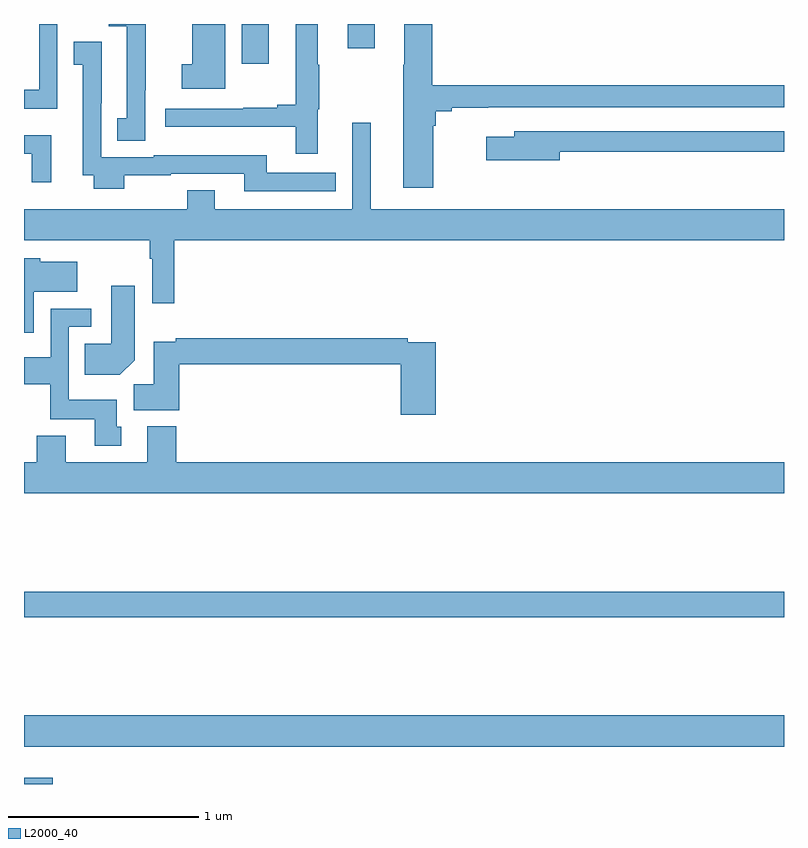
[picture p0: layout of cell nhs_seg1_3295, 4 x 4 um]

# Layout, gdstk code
import gdstk
lib = gdstk.Library(unit=1e-6, precision=1e-09)
def R(c, l, rs):  # rectangles x0, y0, x1, y1
    for r in rs: c.add(gdstk.rectangle(r[:2], r[2:], *l))
def P(c, l, *ps):  # polygons
    for p in ps: c.add(gdstk.Polygon(p, *l))
L2000_40 = (2000, 40)

nhs_seg1_3295 = lib.new_cell('nhs_seg1_3295')
R(nhs_seg1_3295, L2000_40, [(289,554.199,289.151,554.233), (289,554.396,293,554.56), (289,555.076,293,555.212), (290.147,557.991,290.287,558.199), (290.705,558.072,290.845,558.199)])
P(nhs_seg1_3295, L2000_40, [(290.059,558.199),(289.886,558.199),(289.886,557.988),(289.83,557.988),(289.83,557.858),(290.059,557.858)],
  [(291.154,557.663),(291.167,557.663),(291.167,557.74),(291.25,557.74),(291.25,557.759),(291.444,557.759),(291.444,557.76),(293,557.76),(293,557.876),(291.149,557.876),(291.149,558.199),(291.002,558.199),(291.002,557.984),(290.995,557.984),(290.995,557.754),(290.996,557.754),(290.996,557.336),(291.154,557.336)],
  [(290.545,557.751),(290.553,557.751),(290.553,557.984),(290.545,557.984),(290.545,558.199),(290.429,558.199),(290.429,557.774),(290.333,557.774),(290.333,557.757),(290.155,557.757),(290.155,557.754),(289.743,557.754),(289.743,557.657),(290.429,557.657),(290.429,557.517),(290.545,557.517)],
  [(289.176,558.199),(289.08,558.199),(289.08,557.854),(289,557.854),(289,557.753),(289.176,557.753)],
  [(289.638,557.851),(289.641,557.851),(289.641,558.199),(289.445,558.199),(289.445,558.186),(289.541,558.186),(289.541,557.703),(289.492,557.703),(289.492,557.584),(289.638,557.584)],
  [(290.642,557.415),(290.278,557.415),(290.278,557.509),(289.683,557.509),(289.683,557.499),(289.407,557.499),(289.407,557.782),(289.408,557.782),(289.408,558.106),(289.261,558.106),(289.261,557.985),(289.31,557.985),(289.31,557.403),(289.367,557.403),(289.367,557.333),(289.527,557.333),(289.527,557.402),(289.773,557.402),(289.773,557.412),(290.159,557.412),(290.159,557.319),(290.642,557.319)],
  [(289.79,557.06),(293,557.06),(293,557.224),(290.824,557.224),(290.824,557.68),(290.727,557.68),(290.727,557.224),(290.005,557.224),(290.005,557.323),(289.858,557.323),(289.858,557.224),(289,557.224),(289,557.06),(289.662,557.06),(289.662,556.964),(289.674,556.964),(289.674,556.728),(289.79,556.728)],
  [(291.82,557.526),(293,557.526),(293,557.634),(291.581,557.634),(291.581,557.605),(291.432,557.605),(291.432,557.483),(291.82,557.483)],
  [(289.144,557.614),(289,557.614),(289,557.517),(289.042,557.517),(289.042,557.367),(289.144,557.367)],
  [(289.05,556.79),(289.279,556.79),(289.279,556.948),(289.086,556.948),(289.086,556.966),(289,556.966),(289,556.574),(289.05,556.574)],
  [(289.582,556.43),(289.582,556.822),(289.46,556.822),(289.46,556.516),(289.321,556.516),(289.321,556.352),(289.504,556.352)],
  [(289.513,556.08),(289.489,556.08),(289.489,556.222),(289.236,556.222),(289.236,556.605),(289.354,556.605),(289.354,556.701),(289.14,556.701),(289.14,556.444),(289.001,556.444),(289.001,556.304),(289.138,556.304),(289.138,556.118),(289.373,556.118),(289.373,555.978),(289.513,555.978)],
  [(291.167,556.524),(291.02,556.524),(291.02,556.544),(289.798,556.544),(289.798,556.526),(289.682,556.526),(289.682,556.304),(289.577,556.304),(289.577,556.166),(289.817,556.166),(289.817,556.408),(290.984,556.408),(290.984,556.143),(291.167,556.143)],
  [(293,555.892),(289.802,555.892),(289.802,556.081),(289.649,556.081),(289.649,555.892),(289.219,555.892),(289.219,556.033),(289.067,556.033),(289.067,555.892),(289,555.892),(289,555.728),(293,555.728)])

lib.write_gds('nhs_seg1_3295.gds')
